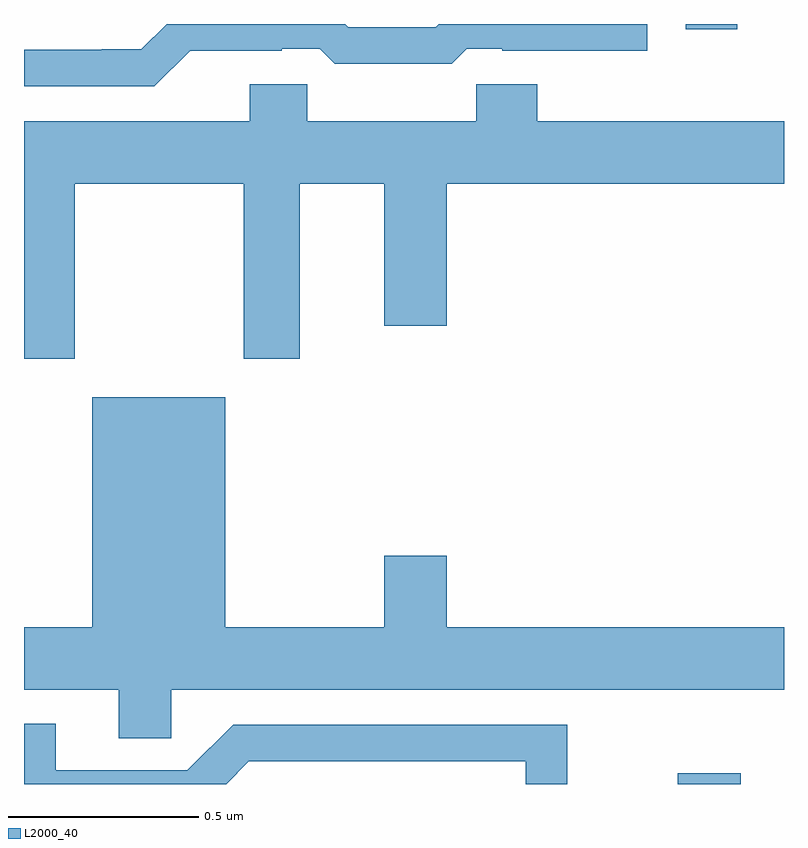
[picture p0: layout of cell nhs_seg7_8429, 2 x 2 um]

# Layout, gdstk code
import gdstk
lib = gdstk.Library(unit=1e-6, precision=1e-09)
def R(c, l, rs):  # rectangles x0, y0, x1, y1
    for r in rs: c.add(gdstk.rectangle(r[:2], r[2:], *l))
def P(c, l, *ps):  # polygons
    for p in ps: c.add(gdstk.Polygon(p, *l))
L2000_40 = (2000, 40)

nhs_seg7_8429 = lib.new_cell('nhs_seg7_8429')
R(nhs_seg7_8429, L2000_40, [(225.721,1035,225.886,1035.028), (225.741,1036.986,225.877,1037)])
P(nhs_seg7_8429, L2000_40, [(224.438,1036.93),(224.678,1036.93),(224.678,1036.935),(224.778,1036.935),(224.818,1036.896),(225.125,1036.896),(225.165,1036.935),(225.259,1036.935),(225.259,1036.93),(225.64,1036.93),(225.64,1037),(225.092,1037),(225.084,1036.992),(224.853,1036.992),(224.845,1037),(224.375,1037),(224.309,1036.934),(224.204,1036.934),(224.204,1036.932),(224,1036.932),(224,1036.836),(224.343,1036.836)],
  [(224.133,1036.58),(224.578,1036.58),(224.578,1036.119),(224.725,1036.119),(224.725,1036.58),(224.948,1036.58),(224.948,1036.206),(225.112,1036.206),(225.112,1036.58),(226,1036.58),(226,1036.744),(225.35,1036.744),(225.35,1036.842),(225.19,1036.842),(225.19,1036.744),(224.745,1036.744),(224.745,1036.842),(224.594,1036.842),(224.594,1036.744),(224,1036.744),(224,1036.119),(224.133,1036.119)],
  [(224.388,1035.248),(226,1035.248),(226,1035.412),(225.112,1035.412),(225.112,1035.601),(224.948,1035.601),(224.948,1035.412),(224.53,1035.412),(224.53,1036.018),(224.18,1036.018),(224.18,1035.412),(224,1035.412),(224,1035.248),(224.249,1035.248),(224.249,1035.121),(224.388,1035.121)],
  [(224.592,1035.06),(225.321,1035.06),(225.321,1035),(225.43,1035),(225.43,1035.156),(224.55,1035.156),(224.43,1035.036),(224.083,1035.036),(224.083,1035.159),(224,1035.159),(224,1035),(224.532,1035)])

lib.write_gds('nhs_seg7_8429.gds')
